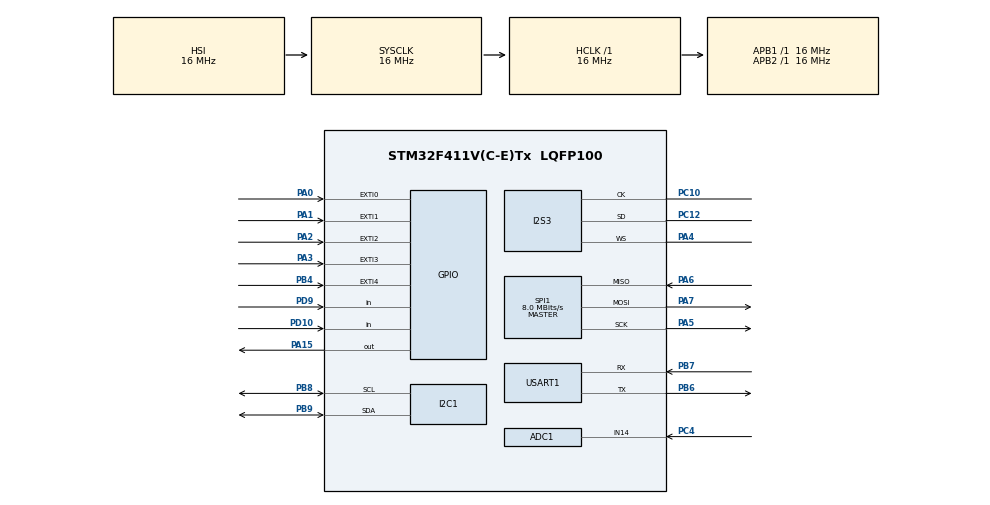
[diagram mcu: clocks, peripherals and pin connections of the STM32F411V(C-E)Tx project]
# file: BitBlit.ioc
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ADC1.Channel-0\#ChannelRegularConversion=ADC_CHANNEL_14
ADC1.ContinuousConvMode=ENABLE
ADC1.NbrOfConversionFlag=1
ADC1.Rank-0\#ChannelRegularConversion=1
ADC1.SamplingTime-0\#ChannelRegularConversion=ADC_SAMPLETIME_3CYCLES
ADC1.master=1
Dma.Request0=SPI3_TX
Dma.SPI3_TX.0.Direction=DMA_MEMORY_TO_PERIPH
Dma.SPI3_TX.0.FIFOMode=DMA_FIFOMODE_DISABLE
Dma.SPI3_TX.0.Instance=DMA1_Stream5
Dma.SPI3_TX.0.MemDataAlignment=DMA_MDATAALIGN_HALFWORD
Dma.SPI3_TX.0.MemInc=DMA_MINC_ENABLE
Dma.SPI3_TX.0.Mode=DMA_NORMAL
Dma.SPI3_TX.0.PeriphDataAlignment=DMA_PDATAALIGN_HALFWORD
Dma.SPI3_TX.0.PeriphInc=DMA_PINC_DISABLE
Dma.SPI3_TX.0.Priority=DMA_PRIORITY_LOW
I2S3.ErrorAudioFreq=0.0 %
I2S3.FullDuplexMode=I2S_FULLDUPLEXMODE_DISABLE
I2S3.Instance=SPI$Index
I2S3.RealAudioFreq=8.0 KHz
I2S3.VirtualMode=I2S_MODE_MASTER
Mcu.Family=STM32F4
Mcu.Name=STM32F411V(C-E)Tx
Mcu.Package=LQFP100
NVIC.DMA1_Stream5_IRQn=true\:0\:0\:false\:false\:true\:false\:true
NVIC.EXTI0_IRQn=true\:0\:0\:false\:false\:true\:true\:true
NVIC.EXTI1_IRQn=true\:0\:0\:false\:false\:true\:true\:true
NVIC.EXTI2_IRQn=true\:0\:0\:false\:false\:true\:true\:true
NVIC.EXTI3_IRQn=true\:0\:0\:false\:false\:true\:true\:true
NVIC.EXTI4_IRQn=true\:0\:0\:false\:false\:true\:true\:true
NVIC.PriorityGroup=NVIC_PRIORITYGROUP_4
NVIC.USART1_IRQn=true\:0\:0\:false\:false\:true\:true\:true
PA0-WKUP.Signal=GPXTI0
PA1.Signal=GPXTI1
PA15.Signal=GPIO_Output
PA2.Signal=GPXTI2
PA3.Signal=GPXTI3
PA4.Mode=Half_Duplex_Master
PA4.Signal=I2S3_WS
PA5.Mode=Full_Duplex_Master
PA5.Signal=SPI1_SCK
PA6.Mode=Full_Duplex_Master
PA6.Signal=SPI1_MISO
PA7.Mode=Full_Duplex_Master
PA7.Signal=SPI1_MOSI
PB4.Signal=GPXTI4
PB6.Mode=Asynchronous
PB6.Signal=USART1_TX
PB7.Mode=Asynchronous
PB7.Signal=USART1_RX
PB8.Mode=I2C
PB8.Signal=I2C1_SCL
PB9.Mode=I2C
PB9.Signal=I2C1_SDA
PC10.Mode=Half_Duplex_Master
PC10.Signal=I2S3_CK
PC12.Mode=Half_Duplex_Master
PC12.Signal=I2S3_SD
PC4.Signal=ADCx_IN14
PD10.Signal=GPIO_Input
PD9.Signal=GPIO_Input
ProjectManager.HeapSize=0x200
ProjectManager.StackSize=0x400
ProjectManager.TargetToolchain=STM32CubeIDE
RCC.AHBFreq_Value=16000000
RCC.APB1Freq_Value=16000000
RCC.APB2Freq_Value=16000000
RCC.CortexFreq_Value=16000000
RCC.HSE_VALUE=25000000
RCC.HSI_VALUE=16000000
RCC.LSE_VALUE=32768
RCC.SYSCLKFreq_VALUE=16000000
RCC.VCOOutputFreq_Value=192000000
SH.ADCx_IN14.0=ADC1_IN14,IN14
SPI1.CalculateBaudRate=8.0 MBits/s
SPI1.Direction=SPI_DIRECTION_2LINES
SPI1.Mode=SPI_MODE_MASTER
SPI1.VirtualType=VM_MASTER
USART1.VirtualMode=VM_ASYNC
VP_FATFS_VS_Generic.Mode=User_defined
board=custom

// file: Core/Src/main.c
/* USER CODE BEGIN Header */
/**
  ******************************************************************************
  * @file           : main.c
  * @brief          : Main program body
  ******************************************************************************
  * @attention
  *
  * <h2><center>&copy; Copyright (c) 2020 STMicroelectronics.
  * All rights reserved.</center></h2>
  *
  * This software component is licensed by ST under BSD 3-Clause license,
  * the "License"; You may not use this file except in compliance with the
  * License. You may obtain a copy of the License at:
  *                        opensource.org/licenses/BSD-3-Clause
  *
  ******************************************************************************
  */
/* USER CODE END Header */

#include "main.h"
#include "fatfs.h"

/* USER CODE BEGIN Includes */
#include "update.h"
#include "sprite.h"
#include "audio.h"
#include "DrawScore.h"
#include "fatfs.h"
#include "DrawLives.h"

/* USER CODE END Includes */

/* USER CODE BEGIN PD */
#define Screen_Start (unsigned char*)0x20020000
/* USER CODE END PD */

ADC_HandleTypeDef hadc1;

I2C_HandleTypeDef hi2c1;

I2S_HandleTypeDef hi2s3;
DMA_HandleTypeDef hdma_spi3_tx;

SPI_HandleTypeDef hspi1;

UART_HandleTypeDef huart1;

/* USER CODE BEGIN PV */
//file variables
FRESULT fres;
FATFS fs;
UINT numread;
UINT numwritten;
FIL fil;

uint16_t filecontents[3];
uint8_t ans;
uint8_t output[17] = "\nHigh Score: 000\n";

//gameflag variables
int screenrefreshcounter = 0;
int pos = 0;
int place = 0;
int gamestate = 1;
int displayscore =1;
int power_up = 0;
int randomnumber;
int powerupactivepaddle = 0;
int powerupactivelives = 0;
int live = 3;

//brick variables
int BRICK_START_Y = 30;
int topy, bottomy, leftx, rightx;
int BRICK_START_X = 6;
int BRICK_WIDTH = 20;
int BRICK_HEIGHT = 8;
int  brick_hit = 0;
int tempby;
int tempty;
int templx;
int temprx;
int greyflag =0;

//paddle variables
int paddleflag;
int PADDLE_START_X = 144;
int PADDLE_START_Y = 187;
int PADDLE_WIDTH = 32;
int PADDLE_HEIGHT = 8;
int PADDLE_SPEED = 8;
int WIDEPADDLE_WIDTH = 48;
int WIDEPADDLE_HEIGHT = 8;

//ball variables
int BALL_START_X = 157;
int BALL_START_Y = 	186;
int Ball_Height = 4;
int Ball_Width = 4;
int angle = 95;
int speed = 10;

//interrupt variables
extern  uint8_t screenFlag;
extern  uint8_t button_0;
extern  uint8_t button_1;
extern  uint8_t button_2;
extern  uint8_t button_3;
extern  uint8_t pressed;

//mouse variables
uint8_t i2cdata[10];
int16_t ax=0;

//adc variables
uint16_t tempx = 2042;
int decreasing = 0;
int increasing = 0;

//score variables
int greenpoint=0;
int yellowpoint = 0;
int orangepoint = 0;
int redpoint = 0;
int greypoint = 0;
int points = 0;
int fail = 0;

/* USER CODE END PV */

void SystemClock_Config(void);
static void MX_GPIO_Init(void);
static void MX_DMA_Init(void);
static void MX_ADC1_Init(void);
static void MX_I2C1_Init(void);
static void MX_I2S3_Init(void);
static void MX_SPI1_Init(void);
static void MX_USART1_UART_Init(void);
/* USER CODE BEGIN PFP */

//function declarations
volatile void ClearSprite(unsigned char* ptr_screen, unsigned char* ptr_sprite, int x, int y, int SPRITE_WIDTH, int SPRITE_HEIGHT );
volatile void DrawSprite(unsigned char* ptr_screen, unsigned char* ptr_sprite, int x, int y, int SPRITE_WIDTH, int SPRITE_HEIGHT);
int abs(int x);

//ball struct
struct ball_state{
	   uint16_t x;
	   uint16_t y;
	   uint8_t width;
	   uint8_t height;
	   int16_t mov_direction;
	   uint16_t speed;
	   int speeddirectiony;
	   int speeddirectionx;
};

//paddle struct
 struct Paddle_state{
	    int x;
		int y;
		int PADDLE_WIDTH;
		int PADDLE_HEIGHT;
		int lives;
		int right;
		int left;
};

//powerups struct
struct power_ups
{
	int increasepaddle;
	int lifeup;

};

// brick struct
typedef struct {

	 uint16_t rightx;
     uint16_t leftx;
     uint16_t bottomy;
         uint16_t topy;
         uint16_t hitbox;

}Bricks;

///// FUNCTIONS

void Collisiondetection(struct ball_state* ball_state,struct Paddle_state* paddle_state, Bricks* bricks)
{

	int tempX = ball_state->x + deltaX(ball_state->speed, ball_state->mov_direction);
	int	tempY = ball_state->y + deltaY(ball_state->speed, ball_state->mov_direction);

	int balltop = tempY;
	int ballbottom =  tempY + ball_state->height;
	int ballleft = tempX;
	int ballright = tempX + ball_state->width;

		if(ballleft<0)//left side of screen
		{

			ball_state->mov_direction = 180 - ball_state->mov_direction; //bounce right
			ball_state->x = -tempX;
			ball_state->speeddirectionx = speed;
		}
		else if(ballright > 320)//right side of screen
		{

			ball_state->mov_direction = 180 - ball_state->mov_direction; //bounce left
			ball_state->x = tempX - 2*((tempX+ball_state->width)-320);
			ball_state->speeddirectionx = -1*speed;
		}
		else
		{
			ball_state->x = tempX;
		}

			if(balltop<0)//top of screen
			{

				ball_state->mov_direction = 360 - ball_state->mov_direction; //bounce down
				ball_state->y = -tempY;
				ball_state->speeddirectiony = speed;
			}

			//bounce of of paddle

			else if(((ballbottom) >= paddle_state->y) && (ballleft <= paddle_state->x+(paddle_state->PADDLE_WIDTH)) && (ballright >= paddle_state->x))
				{
					if((paddle_state->right) && (ball_state->mov_direction < 90)&& (ball_state->mov_direction >= 0)) // ball moving right and paddle moving right
					{
						ball_state->speeddirectiony = -1*speed;
									   ball_state->mov_direction = 375 - ball_state->mov_direction; //update
									   ball_state->y = tempY - 2*((tempY+ball_state->height)-paddle_state->y);
									   paddle_state->right = 0;
					}
					else if((paddle_state->left)&& (ball_state->mov_direction <= 180)&& (ball_state->mov_direction > 90)) // ball moving left and paddle moving left
					{
						ball_state->speeddirectiony = -1*speed;
									   ball_state->mov_direction = 345 - ball_state->mov_direction; //update
									   ball_state->y = tempY - 2*((tempY+ball_state->height)-paddle_state->y);
									   paddle_state->left = 0;

					}
					else if((paddle_state->right) && (ball_state->mov_direction <= 180)&& (ball_state->mov_direction > 90)) // ball moving left and paddle moving right
								  {
									ball_state->speeddirectiony = -1*speed;
												   ball_state->mov_direction = 375 - ball_state->mov_direction; //update
												   ball_state->y = tempY - 2*((tempY+ball_state->height)-paddle_state->y);
												   paddle_state->right = 0;
								  }
								  else if((paddle_state->left)&& (ball_state->mov_direction < 90)&& (ball_state->mov_direction >= 0)) // ball moving right and paddle moving left
								{
									ball_state->speeddirectiony = -1*speed;
												   ball_state->mov_direction = 345 - ball_state->mov_direction; //update
												   ball_state->y = tempY - 2*((tempY+ball_state->height)-paddle_state->y);
												   paddle_state->left = 0;

								}
								  else if((paddle_state->left)&& (ball_state->mov_direction == 90)) // ball moving straight  and paddle moving left
																{
																	ball_state->speeddirectiony = -1*speed;
																				   ball_state->mov_direction = 345 - ball_state->mov_direction; //update
																				   ball_state->y = tempY - 2*((tempY+ball_state->height)-paddle_state->y);
																				   paddle_state->left = 0;

																}
								  else if((paddle_state->right)&& (ball_state->mov_direction == 90)) // ball moving straight  and paddle moving right
																								{
																									ball_state->speeddirectiony = -1*speed;
																												   ball_state->mov_direction = 375 - ball_state->mov_direction; //update
																												   ball_state->y = tempY - 2*((tempY+ball_state->height)-paddle_state->y);
																												   paddle_state->left = 0;

																								}

				else
				{
				   ball_state->speeddirectiony = -1*speed;
				   ball_state->mov_direction = 360 - ball_state->mov_direction; //update
				   ball_state->y = tempY - 2*((tempY+ball_state->height)-paddle_state->y);
				   paddle_state->left = 0;
				   paddle_state->right = 0;
				}

				}

			else if(ballbottom >= 200)
			{

				fail = 1;

				 paddle_state->lives--;
									    live--;
						                button_0 = 0;
										pressed = 0;
						                ball_state->speed = 0;
						                ball_state->y = BALL_START_Y;
						                ball_state->mov_direction = angle;

			}
			else
  		{
  			ball_state->y = tempY;
  		}

			// check collision for all bricks
			for(pos = 0; pos<65; pos++)
				{

					if ((balltop <= bricks[pos].bottomy) && ((ballbottom) >= bricks[pos].topy) && ((ballright)>= bricks[pos].leftx) &&(ballleft<= bricks[pos].rightx) ) //check for collision
					{
                        place = pos;

                        power_up =1;

                   	 if(ball_state ->mov_direction > 360)
                   	 {
                   		 ball_state ->mov_direction -= 360;
                   	 }
                   	 else if(ball_state ->mov_direction < -360)
                   	 {
                   		 ball_state ->mov_direction += 360;
                   	 }

						//set score flags

						if(pos >= 52 && pos <= 64) //green brick is hit
						{
							 brick_hit = 1;
												greenpoint = 1;

											}

						else if(pos >= 39 && pos <= 51) //yellow brick is hit
																	{
							 brick_hit = 1;
																		yellowpoint = 1;

																	}
											else if(pos >= 26 && pos <= 38) //orange brick is hit
																	{
												 brick_hit = 1;
																		orangepoint = 1;

																	}
											else if(pos >= 13 && pos <= 25) //red brick is hit
																	{
												 brick_hit = 1;
												                  	redpoint = 1;

																	}
											else if(pos >=0 && pos <=12)
											{

												if(bricks[pos].hitbox != 1)
												{
												greyflag = 1;
												}
						                                    ClearSprite(Screen_Start, sprite, bricks[pos].leftx, bricks[pos].topy, BRICK_WIDTH, BRICK_HEIGHT);

															DrawSprite(Screen_Start, crackedGreyBrick, bricks[pos].leftx, bricks[pos].topy, BRICK_WIDTH, BRICK_HEIGHT);

															if(bricks[pos].hitbox ==1)
															{

																 brick_hit = 1;

															greypoint = 1;

															}

														}

						ball_state->mov_direction = 360 - ball_state->mov_direction; //bounce down
						ball_state->y = (tempY - 2*((tempY)-bricks[pos].bottomy));

					tempby = bricks[pos].bottomy;
					tempty = bricks[pos].topy;
					templx = bricks[pos].leftx;
					temprx = bricks[pos].rightx;

					}

				}

if(pressed == 0)
{
		ball_state->x = paddle_state->x + (PADDLE_WIDTH/2);

}

}

void PowerUpCheck(struct power_ups* power)
{

	if(power_up)
	{

  randomnumber = ((rand() %200)+1); // create random number for powerup from

    if(randomnumber > 60 && randomnumber < 90 ) //lives up power up
    {
    	HAL_I2S_Transmit_DMA(&hi2s3, (uint16_t*) poweruplives, AUDIOLENpoweruplives);
   	 power->lifeup = 1;

    }

    else if(randomnumber > 150 && randomnumber < 180 && !powerupactivepaddle) // paddlesize up power up
    {
    	powerupactivepaddle = 1;
    	HAL_I2S_Transmit_DMA(&hi2s3, (uint16_t*) poweruppaddle, AUDIOLENpoweruppaddle);
   	 power->increasepaddle = 1;

    }

    else
    {
    	HAL_I2S_Transmit_DMA(&hi2s3, (uint16_t*) audiohit, AUDIOLENhit);
    }
    power_up= 0;

}
}

void PowerUp(struct Paddle_state* paddle,struct power_ups* power)
{

	if(power->increasepaddle)
	{

		paddle->PADDLE_WIDTH = WIDEPADDLE_WIDTH;
		paddleflag=1;
		power->increasepaddle = 0;
	}
	else if(power->lifeup)
	{
		live++;
		paddle->lives++;
		power->lifeup = 0;

	}

}

void UpdatePaddle(struct Paddle_state* Paddle_state)
{

	if(button_1)
	{

		uint32_t JoyStick = GPIOD -> IDR;
	JoyStick = JoyStick & 0x600;

	  if(JoyStick == 0x200)
			  {
				  if(Paddle_state ->x == 320 - Paddle_state->PADDLE_WIDTH)
				  {
					  Paddle_state ->x = 320 -  Paddle_state->PADDLE_WIDTH;
				  }
				  else
				  {
					  Paddle_state->right = 1;
					  Paddle_state ->x += PADDLE_SPEED;

					  screenFlag = 0;
				  }

			  }else if(JoyStick == 0x400)

			  {
				  if(Paddle_state ->x == 0)
				  {
					  Paddle_state ->x = 0;
				  }
				  else
				  {
					  Paddle_state->left=1;
					  Paddle_state ->x -= PADDLE_SPEED;

					  screenFlag = 0;
				  }

			  }
			  else
			  {

				  Paddle_state->left = 0;
				  Paddle_state->right = 0;

			  }

	}

	if(button_2)
	{
		i2cdata[0] = 0xA8;

		HAL_I2C_Master_Transmit(&hi2c1, 0x32, i2cdata,1, 10);
		 HAL_I2C_Master_Receive(&hi2c1, 0x32, i2cdata, 6, 10);

		 uint16_t tmp = i2cdata[0] + (i2cdata[1] << 8);
		 ax = *((int16_t*)&tmp);

		 if(ax > 0)
					  {

						  if(Paddle_state ->x == 320 -  Paddle_state->PADDLE_WIDTH)
						  {
							  Paddle_state ->x = 320 -  Paddle_state->PADDLE_WIDTH;
						  }
						  else
						  {
							  Paddle_state->right = 1;
							  Paddle_state ->x += PADDLE_SPEED;

							  screenFlag = 0;
						  }

					  }else if(ax < 0 )

					  {

						  if(Paddle_state ->x == 0)
						  {
							  Paddle_state ->x = 0;
						  }
						  else
						  {
							  Paddle_state->left = 1;
							  Paddle_state ->x -= PADDLE_SPEED;

							  screenFlag = 0;
						  }

					  }
					  else
					  {
						  Paddle_state->left = 0;
						  Paddle_state->right = 0;
					  }

	}
	if(button_3)
	{

		 uint16_t x = HAL_ADC_GetValue(&hadc1);
		 if ((x < tempx) || (x == 0))
		 {
			 decreasing = 1;

		 }
		 else if ((x > tempx)||(x >= 4084))
		 {

			 increasing = 1;

		 }
		 tempx = x;

		 if (decreasing)
		 {

			  if(Paddle_state ->x <= 0)
			  {
				  Paddle_state ->x = 0;
			  }
			  else
			  {
				  Paddle_state->left = 1;
				  Paddle_state ->x -= PADDLE_SPEED;

				  screenFlag = 0;
			  }

decreasing = 0;

		 }

		 else if(increasing)
		 {

			  if(Paddle_state ->x == 320 -  Paddle_state->PADDLE_WIDTH)
							  {
				  Paddle_state ->x = 320 -  Paddle_state->PADDLE_WIDTH;
							  }
							  else
							  {
								  Paddle_state->right = 1;
								  Paddle_state ->x += PADDLE_SPEED;

								  screenFlag = 0;
							  }

increasing = 0;

		 }
		 else
					  {

						  Paddle_state->left = 0;
						  Paddle_state->right = 0;

					  }
	}
}

void updateScore()
{

	if(greenpoint)
	{

		points++; // +1 for green brick
		greenpoint = 0;
	}
	else if(yellowpoint)
		{
         points += 3;// +3 for yellow brick
         yellowpoint = 0;
		}
	else if(orangepoint)
		{
        points += 5;// +5 for orange brick
        orangepoint = 0;
		}
	else if(redpoint)
		{
        points += 7;// +7 for red brick
        redpoint = 0;
		}
	else if(greypoint)
		{
        points += 10;// +10 for grey brick
        greypoint = 0;
		}

}

void GameOver(struct Paddle_state* paddle_state)
{

				int middlex = 130;
				int middley = 100;

				    DrawSprite(Screen_Start,char_G,middlex, middley,SCORE_WIDTH,SCORE_HEIGHT);
					DrawSprite(Screen_Start,char_A,middlex+9, middley,SCORE_WIDTH,SCORE_HEIGHT);
					DrawSprite(Screen_Start,char_M,middlex+18, middley,SCORE_WIDTH,SCORE_HEIGHT);
					DrawSprite(Screen_Start,char_E,middlex+27, middley,SCORE_WIDTH,SCORE_HEIGHT);
					DrawSprite(Screen_Start,char_O,middlex+45, middley,SCORE_WIDTH,SCORE_HEIGHT);
					DrawSprite(Screen_Start,char_V,middlex+54, middley,SCORE_WIDTH,SCORE_HEIGHT);
					DrawSprite(Screen_Start,char_E,middlex+63, middley,SCORE_WIDTH,SCORE_HEIGHT);
					DrawSprite(Screen_Start,char_R,middlex+72, middley,SCORE_WIDTH,SCORE_HEIGHT);

}

void Fail(struct Paddle_state* paddle_state)
{

	if(fail)
	{

		ClearSprite(Screen_Start, widePaddle, paddle_state->x, paddle_state->y, paddle_state->PADDLE_WIDTH, paddle_state->PADDLE_HEIGHT);

		paddleflag = 0;
		powerupactivepaddle = 0;
		paddle_state->PADDLE_WIDTH = PADDLE_WIDTH;

		if(paddle_state->lives == 0)
					{
				gamestate = 0;
					}

		HAL_I2S_Transmit_DMA(&hi2s3, (uint16_t*) audiofail2, AUDIOLENfail2);
		fail = 0;

	}
}

void IncScrCnt()
{
if(brick_hit)
{
	screenrefreshcounter++;
}

}

void BrickAnimation(Bricks* bricks)
{

	if(brick_hit)
	{
	if(place >= 52 && place <= 64) //green brick is hit
						{
		                                 bricks[place].bottomy = -69;
										bricks[place].topy = -69;
										bricks[place].leftx =-69;
										bricks[place].rightx = -69;
		                                                            if (screenrefreshcounter==0){
		                                                                   ClearSprite(Screen_Start, sprite, templx, tempty, BRICK_WIDTH, BRICK_HEIGHT);

																			DrawSprite(Screen_Start,  Brickanimation1G, templx, tempty, BRICK_WIDTH, BRICK_HEIGHT);
		                                                                 }
																			if (screenrefreshcounter==2) {
																				ClearSprite(Screen_Start, sprite, templx, tempty, BRICK_WIDTH, BRICK_HEIGHT);

																				DrawSprite(Screen_Start,  Brickanimation2G, templx, tempty, BRICK_WIDTH, BRICK_HEIGHT);
																			}

																			else if (screenrefreshcounter==4) {
																				ClearSprite(Screen_Start, sprite, templx, tempty, BRICK_WIDTH, BRICK_HEIGHT);

																				DrawSprite(Screen_Start,  Brickanimation3G,templx, tempty, BRICK_WIDTH, BRICK_HEIGHT);
																			}

																			else if (screenrefreshcounter==6) {
																				ClearSprite(Screen_Start, sprite, templx, tempty, BRICK_WIDTH, BRICK_HEIGHT);
																				screenrefreshcounter = 0;
																				brick_hit =0;
																			}

						}

	else if(place >= 39 && place <= 51) //yellow brick is hit
												{
		                                bricks[place].bottomy = -69;
										bricks[place].topy = -69;
										bricks[place].leftx =-69;
										bricks[place].rightx = -69;
        if (screenrefreshcounter==0){
                             ClearSprite(Screen_Start, sprite, templx, tempty, BRICK_WIDTH, BRICK_HEIGHT);

								DrawSprite(Screen_Start,  Brickanimation1Y, templx, tempty, BRICK_WIDTH, BRICK_HEIGHT);
}
								if (screenrefreshcounter==2) {
									ClearSprite(Screen_Start, sprite, templx, tempty, BRICK_WIDTH, BRICK_HEIGHT);

									DrawSprite(Screen_Start,  Brickanimation2Y, templx, tempty, BRICK_WIDTH, BRICK_HEIGHT);
								}

								else if (screenrefreshcounter==4) {
									ClearSprite(Screen_Start, sprite, templx, tempty, BRICK_WIDTH, BRICK_HEIGHT);

									DrawSprite(Screen_Start,  Brickanimation3Y,templx, tempty, BRICK_WIDTH, BRICK_HEIGHT);
								}

								else if (screenrefreshcounter==6) {
									ClearSprite(Screen_Start, sprite, templx, tempty, BRICK_WIDTH, BRICK_HEIGHT);
									screenrefreshcounter = 0;
									brick_hit =0;
								}
												}
	else if(place >= 26 && place <= 38) //orange brick is hit
												{
		                                bricks[place].bottomy = -69;
										bricks[place].topy = -69;
										bricks[place].leftx =-69;
										bricks[place].rightx = -69;
        if (screenrefreshcounter==0){
                             ClearSprite(Screen_Start, sprite, templx, tempty, BRICK_WIDTH, BRICK_HEIGHT);

								DrawSprite(Screen_Start,  Brickanimation1O, templx, tempty, BRICK_WIDTH, BRICK_HEIGHT);
}
								if (screenrefreshcounter==2) {
									ClearSprite(Screen_Start, sprite, templx, tempty, BRICK_WIDTH, BRICK_HEIGHT);

									DrawSprite(Screen_Start,  Brickanimation2O, templx, tempty, BRICK_WIDTH, BRICK_HEIGHT);
								}

								else if (screenrefreshcounter==4) {
									ClearSprite(Screen_Start, sprite, templx, tempty, BRICK_WIDTH, BRICK_HEIGHT);

									DrawSprite(Screen_Start,  Brickanimation3O,templx, tempty, BRICK_WIDTH, BRICK_HEIGHT);
								}

								else if (screenrefreshcounter==6) {
									ClearSprite(Screen_Start, sprite, templx, tempty, BRICK_WIDTH, BRICK_HEIGHT);
									screenrefreshcounter = 0;
									brick_hit =0;
								}
												}
	else if(place >= 13 && place <= 25) //red brick is hit
												{
		                               bricks[place].bottomy = -69;
										bricks[place].topy = -69;
										bricks[place].leftx =-69;
										bricks[place].rightx = -69;
        if (screenrefreshcounter==0){
                             ClearSprite(Screen_Start, sprite, templx, tempty, BRICK_WIDTH, BRICK_HEIGHT);

								DrawSprite(Screen_Start,  Brickanimation1R, templx, tempty, BRICK_WIDTH, BRICK_HEIGHT);
}
								if (screenrefreshcounter==2) {
									ClearSprite(Screen_Start, sprite, templx, tempty, BRICK_WIDTH, BRICK_HEIGHT);

									DrawSprite(Screen_Start,  Brickanimation2R, templx, tempty, BRICK_WIDTH, BRICK_HEIGHT);
								}

								else if (screenrefreshcounter==4) {
									ClearSprite(Screen_Start, sprite, templx, tempty, BRICK_WIDTH, BRICK_HEIGHT);

									DrawSprite(Screen_Start,  Brickanimation3R,templx, tempty, BRICK_WIDTH, BRICK_HEIGHT);
								}

								else if (screenrefreshcounter==6) {
									ClearSprite(Screen_Start, sprite, templx, tempty, BRICK_WIDTH, BRICK_HEIGHT);
									screenrefreshcounter = 0;
									brick_hit =0;

								}
												}

	else if(place >= 0 && place <= 12) // grey brick is hit
	{
		if((bricks[place].hitbox==1) && (brick_hit == 1) )
		{
			                                bricks[place].bottomy = -69;
											bricks[place].topy = -69;
											bricks[place].leftx =-69;
											bricks[place].rightx = -69;
        if (screenrefreshcounter==0){
                             ClearSprite(Screen_Start, sprite, templx, tempty, BRICK_WIDTH, BRICK_HEIGHT);

								DrawSprite(Screen_Start,  Brickanimation1GR, templx, tempty, BRICK_WIDTH, BRICK_HEIGHT);
}
								if (screenrefreshcounter==2) {
									ClearSprite(Screen_Start, sprite, templx, tempty, BRICK_WIDTH, BRICK_HEIGHT);

									DrawSprite(Screen_Start,  Brickanimation2GR, templx, tempty, BRICK_WIDTH, BRICK_HEIGHT);
								}

								else if (screenrefreshcounter==4) {
									ClearSprite(Screen_Start, sprite, templx, tempty, BRICK_WIDTH, BRICK_HEIGHT);

									DrawSprite(Screen_Start,  Brickanimation3GR,templx, tempty, BRICK_WIDTH, BRICK_HEIGHT);
								}

								else if (screenrefreshcounter==6) {
									ClearSprite(Screen_Start, sprite, templx, tempty, BRICK_WIDTH, BRICK_HEIGHT);
									screenrefreshcounter = 0;
									brick_hit =0;

								}

}

	}

}
	if(greyflag)
	{
	bricks[place].hitbox++;
	greyflag = 0;
	}
}

/* USER CODE END PFP */

int main(void)
{
  /* USER CODE BEGIN 1 */

	uint8_t Paddle[256] = {0x00, 0x00, 0x00, 0x06, 0x06, 0x06, 0x06, 0x10, 0x16, 0x16, 0x16, 0x16, 0x16, 0x16, 0x16, 0x16, 0x16, 0x16, 0x16, 0x16, 0x16, 0x16, 0x16, 0x16, 0x10, 0x06, 0x06, 0x06, 0x06, 0x00, 0x00, 0x00,
	                       0x00, 0x00, 0x0C, 0x0C, 0x0C, 0x0C, 0x0C, 0x10, 0x18, 0x18, 0x18, 0x18, 0x18, 0x18, 0x18, 0x18, 0x18, 0x18, 0x18, 0x18, 0x18, 0x18, 0x18, 0x18, 0x10, 0x0C, 0x0C, 0x0C, 0x0C, 0x06, 0x00, 0x00,
	                       0x00, 0x0B, 0x0C, 0x0F, 0x0F, 0x0F, 0x0F, 0x10, 0x0F, 0x0F, 0x0F, 0x0F, 0x0F, 0x0F, 0x0F, 0x0F, 0x0F, 0x0F, 0x0F, 0x0F, 0x0F, 0x0F, 0x0F, 0x0F, 0x10, 0x0F, 0x0F, 0x0F, 0x0F, 0x06, 0x0B, 0x00,
	                       0x0B, 0x0F, 0x0F, 0x0C, 0x0C, 0x0C, 0x0C, 0x10, 0x18, 0x18, 0x18, 0x18, 0x18, 0x18, 0x18, 0x18, 0x18, 0x18, 0x18, 0x18, 0x18, 0x18, 0x18, 0x18, 0x10, 0x0C, 0x0C, 0x0C, 0x0C, 0x06, 0x0F, 0x0B,
	                       0x0B, 0x0B, 0x0C, 0x0C, 0x0C, 0x0C, 0x0C, 0x10, 0x18, 0x18, 0x18, 0x18, 0x18, 0x18, 0x18, 0x18, 0x18, 0x18, 0x18, 0x18, 0x18, 0x18, 0x18, 0x18, 0x10, 0x0C, 0x0C, 0x0C, 0x0C, 0x06, 0x0B, 0x0B,
	                       0x00, 0x0B, 0x0C, 0x0C, 0x0C, 0x0C, 0x0C, 0x10, 0x16, 0x16, 0x16, 0x16, 0x16, 0x16, 0x16, 0x16, 0x16, 0x16, 0x16, 0x16, 0x16, 0x16, 0x16, 0x16, 0x10, 0x0C, 0x0C, 0x0C, 0x0C, 0x06, 0x0B, 0x00,
	                       0x00, 0x00, 0x0C, 0x06, 0x06, 0x06, 0x06, 0x10, 0x16, 0x16, 0x16, 0x16, 0x16, 0x16, 0x16, 0x16, 0x16, 0x16, 0x16, 0x16, 0x16, 0x16, 0x16, 0x16, 0x10, 0x06, 0x06, 0x06, 0x06, 0x06, 0x00, 0x00,
	                       0x00, 0x00, 0x00, 0x06, 0x06, 0x06, 0x06, 0x10, 0x10, 0x10, 0x10, 0x10, 0x10, 0x10, 0x10, 0x10, 0x10, 0x10, 0x10, 0x10, 0x10, 0x10, 0x10, 0x10, 0x10, 0x06, 0x06, 0x06, 0x06, 0x00, 0x00, 0x00,};

	uint8_t Ball[16] = {0x00, 0x0F, 0x0F, 0x00,
	 0x0F, 0x0B, 0x0B, 0x0F,
	 0x0F, 0x0B, 0x0B, 0x0F,
	 0x00, 0x0F, 0x0F, 0x00};

  /* USER CODE END 1 */

  /* MCU Configuration--------------------------------------------------------*/

  /* Reset of all peripherals, Initializes the Flash interface and the Systick. */
  HAL_Init();

  /* Configure the system clock */
  SystemClock_Config();

  /* Initialize all configured peripherals */
  MX_GPIO_Init();
  MX_DMA_Init();
  MX_ADC1_Init();
  MX_I2C1_Init();
  MX_I2S3_Init();
  MX_SPI1_Init();
  MX_USART1_UART_Init();
  MX_FATFS_Init();
  /* USER CODE BEGIN 2 */

  DrawSprite(Screen_Start, titlescreen, 0, 0, 320, 200);
  HAL_Delay(50);
  ClearSprite(Screen_Start, titlescreen, 0, 0, 320, 200);

  // start adc continious conversion mode
  HAL_ADC_Start(&hadc1);

  //draw bricks
  for(int i = 0; i < 5; i++)
  {
	  BRICK_START_X = 6;
  	for(int j = 0; j <13; j++ )
  		{
  			for(int k = 0; k< sizeof(sprite); k++)
  			{
  				sprite[k] = color[i];
  			}
  			ClearSprite(Screen_Start, sprite, BRICK_START_X, BRICK_START_Y, BRICK_WIDTH, BRICK_HEIGHT);
  			DrawSprite(Screen_Start, sprite, BRICK_START_X, BRICK_START_Y, BRICK_WIDTH, BRICK_HEIGHT);
  			BRICK_START_X += 24;
  		}
  	BRICK_START_Y += 12;
  }

  BRICK_START_Y = 30;
  BRICK_START_X = 6;

// initialize bricks variables
  Bricks bricks[65];

topy = BRICK_START_Y;
bottomy = BRICK_START_Y + BRICK_HEIGHT;
rightx = BRICK_START_X + BRICK_WIDTH;
leftx = BRICK_START_X;
int position = 0;

for( int i = 0; i< 5; i++)
{
 rightx = BRICK_START_X + BRICK_WIDTH;
 leftx = BRICK_START_X;

	for(int j = 0;j<13;j++)
	{
	bricks[position].topy = topy;
	bricks[position].bottomy = bottomy;
	bricks[position].rightx = rightx;
	bricks[position].leftx = leftx;

	rightx += 24;
	leftx += 24;
	position++;

	}

	topy += 12;
	bottomy += 12;
}

//initiliaze balll and paddle variables
  struct ball_state current_ball_state = {BALL_START_X, BALL_START_Y, Ball_Width, Ball_Height, angle,0,0,0};
  struct Paddle_state current_paddle_state = {PADDLE_START_X, PADDLE_START_Y, PADDLE_WIDTH, PADDLE_HEIGHT,3,0,0};
  struct power_ups power_up = { 0,0};

  // draw paddle in starting position
  DrawSprite(Screen_Start, Paddle, current_paddle_state.x, current_paddle_state.y, current_paddle_state.PADDLE_WIDTH, current_paddle_state.PADDLE_HEIGHT);

  // set data registers for mouse input detection for x velocity
  i2cdata[0] = 0x20;
  i2cdata[1] = 0x47;
  HAL_I2C_Master_Transmit(&hi2c1, 0x32, i2cdata, 2, 10);

  i2cdata[0] = 0x23;
    i2cdata[1] = 0x00;
    HAL_I2C_Master_Transmit(&hi2c1, 0x32, i2cdata, 2, 10);

	DrawSprite(Screen_Start,char_S,SCORE_START_X, SCORE_START_y,SCORE_WIDTH,SCORE_HEIGHT);
	DrawSprite(Screen_Start,char_C,SCORE_START_X+9, SCORE_START_y,SCORE_WIDTH,SCORE_HEIGHT);
	DrawSprite(Screen_Start,char_O,SCORE_START_X+18, SCORE_START_y,SCORE_WIDTH,SCORE_HEIGHT);
	DrawSprite(Screen_Start,char_R,SCORE_START_X+27, SCORE_START_y,SCORE_WIDTH,SCORE_HEIGHT);
	DrawSprite(Screen_Start,char_E,SCORE_START_X+36, SCORE_START_y,SCORE_WIDTH,SCORE_HEIGHT);
	DrawSprite(Screen_Start,char_Colon,SCORE_START_X+45, SCORE_START_y,SCORE_WIDTH,SCORE_HEIGHT);
	DrawSprite(Screen_Start,char_0,SCORE_START_X+54, SCORE_START_y,SCORE_WIDTH,SCORE_HEIGHT);
	DrawSprite(Screen_Start,char_0,SCORE_START_X+63, SCORE_START_y,SCORE_WIDTH,SCORE_HEIGHT);
	DrawSprite(Screen_Start,char_0,SCORE_START_X+72, SCORE_START_y,SCORE_WIDTH,SCORE_HEIGHT);

	DrawSprite(Screen_Start,char_L,LIVES_START_X, SCORE_START_y,SCORE_WIDTH,SCORE_HEIGHT);
	DrawSprite(Screen_Start,char_I,LIVES_START_X+9, SCORE_START_y,SCORE_WIDTH,SCORE_HEIGHT);
	DrawSprite(Screen_Start,char_V,LIVES_START_X+18, SCORE_START_y,SCORE_WIDTH,SCORE_HEIGHT);
	DrawSprite(Screen_Start,char_E,LIVES_START_X+27, SCORE_START_y,SCORE_WIDTH,SCORE_HEIGHT);
	DrawSprite(Screen_Start,char_S,LIVES_START_X+36, SCORE_START_y,SCORE_WIDTH,SCORE_HEIGHT);
	DrawSprite(Screen_Start,char_Colon,LIVES_START_X+45, SCORE_START_y,SCORE_WIDTH,SCORE_HEIGHT);
	DrawSprite(Screen_Start,char_0,LIVES_START_X+54, SCORE_START_y,SCORE_WIDTH,SCORE_HEIGHT);
	DrawSprite(Screen_Start,char_0,LIVES_START_X+63, SCORE_START_y,SCORE_WIDTH,SCORE_HEIGHT);
	DrawSprite(Screen_Start,char_0,LIVES_START_X+72, SCORE_START_y,SCORE_WIDTH,SCORE_HEIGHT);

  /* USER CODE END 2 */

  /* Infinite loop */
  /* USER CODE BEGIN WHILE */

  while (1)
  {

	  if (screenFlag)
	  {

 //clear paddle
		  if(gamestate)
		  {
			if (!paddleflag) {
				ClearSprite(Screen_Start, Paddle, current_paddle_state.x, current_paddle_state.y, current_paddle_state.PADDLE_WIDTH, current_paddle_state.PADDLE_HEIGHT);
				//update paddle according to input
				UpdatePaddle(&current_paddle_state);
				// draw new paddle
				DrawSprite(Screen_Start, Paddle, current_paddle_state.x, current_paddle_state.y, current_paddle_state.PADDLE_WIDTH, current_paddle_state.PADDLE_HEIGHT);
			}

			if (paddleflag) {
							ClearSprite(Screen_Start, widePaddle, current_paddle_state.x, current_paddle_state.y, current_paddle_state.PADDLE_WIDTH, current_paddle_state.PADDLE_HEIGHT);
							//update paddle according to input
							UpdatePaddle(&current_paddle_state);
							// draw new paddle
							DrawSprite(Screen_Start, widePaddle, current_paddle_state.x, current_paddle_state.y, current_paddle_state.PADDLE_WIDTH, current_paddle_state.PADDLE_HEIGHT);
						}

			      //clear ball

		       ClearSprite(Screen_Start,Ball,current_ball_state.x, current_ball_state.y, current_ball_state.width, current_ball_state.height);

		       //detect collisions between ball and objects

		// launch ball
		       if(button_0)
		       {

                   HAL_I2S_Transmit_DMA(&hi2s3,(uint16_t*) audiolaunch, AUDIOLENlaunch);
		    	   current_ball_state.speed = 10;
		    	   current_ball_state.speeddirectiony = -1*speed;
		    	   current_ball_state.speeddirectionx = -1*speed;

		    	   button_0 = 0;
		       }

			      Collisiondetection(&current_ball_state, &current_paddle_state, bricks);

			      PowerUpCheck(&power_up);
			      PowerUp(&current_paddle_state, &power_up);

			      BrickAnimation(bricks);

			      Fail(&current_paddle_state);

			  updateScore();

			  DrawLives(lives,live);
			  DrawScore(score,points);

// draw new ball after collision

			      DrawSprite(Screen_Start, Ball,current_ball_state.x, current_ball_state.y, current_ball_state.width, current_ball_state.height);

			      IncScrCnt();

		 	   screenFlag = 0;

		  }

		  if(gamestate == 0)
				 			  {
			  //HighScore();

			  GameOver(&current_paddle_state);

				 			  }
	  }

    /* USER CODE END WHILE */

  }
}

void SystemClock_Config(void)
{
  RCC_OscInitTypeDef RCC_OscInitStruct = {0};
  RCC_ClkInitTypeDef RCC_ClkInitStruct = {0};
  RCC_PeriphCLKInitTypeDef PeriphClkInitStruct = {0};

  /** Macro to configure the PLL multiplication factor
  */
  __HAL_RCC_PLL_PLLM_CONFIG(16);
  /** Macro to configure the PLL clock source
  */
  __HAL_RCC_PLL_PLLSOURCE_CONFIG(RCC_PLLSOURCE_HSI);
  /** Configure the main internal regulator output voltage
  */
  __HAL_RCC_PWR_CLK_ENABLE();
  __HAL_PWR_VOLTAGESCALING_CONFIG(PWR_REGULATOR_VOLTAGE_SCALE1);
  /** Initializes the CPU, AHB and APB busses clocks
  */
  RCC_OscInitStruct.OscillatorType = RCC_OSCILLATORTYPE_HSI;
  RCC_OscInitStruct.HSIState = RCC_HSI_ON;
  RCC_OscInitStruct.HSICalibrationValue = RCC_HSICALIBRATION_DEFAULT;
  RCC_OscInitStruct.PLL.PLLState = RCC_PLL_NONE;
  RCC_OscInitStruct.PLL.PLLSource = RCC_PLLSOURCE_HSI;
  if (HAL_RCC_OscConfig(&RCC_OscInitStruct) != HAL_OK)
  {
    Error_Handler();
  }
  /** Initializes the CPU, AHB and APB busses clocks
  */
  RCC_ClkInitStruct.ClockType = RCC_CLOCKTYPE_HCLK|RCC_CLOCKTYPE_SYSCLK
                              |RCC_CLOCKTYPE_PCLK1|RCC_CLOCKTYPE_PCLK2;
  RCC_ClkInitStruct.SYSCLKSource = RCC_SYSCLKSOURCE_HSI;
  RCC_ClkInitStruct.AHBCLKDivider = RCC_SYSCLK_DIV1;
  RCC_ClkInitStruct.APB1CLKDivider = RCC_HCLK_DIV1;
  RCC_ClkInitStruct.APB2CLKDivider = RCC_HCLK_DIV1;

  if (HAL_RCC_ClockConfig(&RCC_ClkInitStruct, FLASH_LATENCY_0) != HAL_OK)
  {
    Error_Handler();
  }
  PeriphClkInitStruct.PeriphClockSelection = RCC_PERIPHCLK_I2S;
  PeriphClkInitStruct.PLLI2S.PLLI2SN = 192;
  PeriphClkInitStruct.PLLI2S.PLLI2SM = 16;
  PeriphClkInitStruct.PLLI2S.PLLI2SR = 2;
  if (HAL_RCCEx_PeriphCLKConfig(&PeriphClkInitStruct) != HAL_OK)
  {
    Error_Handler();
  }
}

static void MX_ADC1_Init(void)
{

  ADC_ChannelConfTypeDef sConfig = {0};

  /** Configure the global features of the ADC (Clock, Resolution, Data Alignment and number of conversion)
  */
  hadc1.Instance = ADC1;
  hadc1.Init.ClockPrescaler = ADC_CLOCK_SYNC_PCLK_DIV2;
  hadc1.Init.Resolution = ADC_RESOLUTION_12B;
  hadc1.Init.ScanConvMode = DISABLE;
  hadc1.Init.ContinuousConvMode = ENABLE;
  hadc1.Init.DiscontinuousConvMode = DISABLE;
  hadc1.Init.ExternalTrigConvEdge = ADC_EXTERNALTRIGCONVEDGE_NONE;
  hadc1.Init.ExternalTrigConv = ADC_SOFTWARE_START;
  hadc1.Init.DataAlign = ADC_DATAALIGN_RIGHT;
  hadc1.Init.NbrOfConversion = 1;
  hadc1.Init.DMAContinuousRequests = DISABLE;
  hadc1.Init.EOCSelection = ADC_EOC_SINGLE_CONV;
  if (HAL_ADC_Init(&hadc1) != HAL_OK)
  {
    Error_Handler();
  }
  /** Configure for the selected ADC regular channel its corresponding rank in the sequencer and its sample time.
  */
  sConfig.Channel = ADC_CHANNEL_14;
  sConfig.Rank = 1;
  sConfig.SamplingTime = ADC_SAMPLETIME_3CYCLES;
  if (HAL_ADC_ConfigChannel(&hadc1, &sConfig) != HAL_OK)
  {
    Error_Handler();
  }

}

static void MX_I2C1_Init(void)
{

  hi2c1.Instance = I2C1;
  hi2c1.Init.ClockSpeed = 100000;
  hi2c1.Init.DutyCycle = I2C_DUTYCYCLE_2;
  hi2c1.Init.OwnAddress1 = 0;
  hi2c1.Init.AddressingMode = I2C_ADDRESSINGMODE_7BIT;
  hi2c1.Init.DualAddressMode = I2C_DUALADDRESS_DISABLE;
  hi2c1.Init.OwnAddress2 = 0;
  hi2c1.Init.GeneralCallMode = I2C_GENERALCALL_DISABLE;
  hi2c1.Init.NoStretchMode = I2C_NOSTRETCH_DISABLE;
  if (HAL_I2C_Init(&hi2c1) != HAL_OK)
  {
    Error_Handler();
  }

}

static void MX_I2S3_Init(void)
{

  hi2s3.Instance = SPI3;
  hi2s3.Init.Mode = I2S_MODE_MASTER_TX;
  hi2s3.Init.Standard = I2S_STANDARD_PHILIPS;
  hi2s3.Init.DataFormat = I2S_DATAFORMAT_16B;
  hi2s3.Init.MCLKOutput = I2S_MCLKOUTPUT_DISABLE;
  hi2s3.Init.AudioFreq = I2S_AUDIOFREQ_8K;
  hi2s3.Init.CPOL = I2S_CPOL_LOW;
  hi2s3.Init.ClockSource = I2S_CLOCK_PLL;
  hi2s3.Init.FullDuplexMode = I2S_FULLDUPLEXMODE_DISABLE;
  if (HAL_I2S_Init(&hi2s3) != HAL_OK)
  {
    Error_Handler();
  }

}

static void MX_SPI1_Init(void)
{

  /* SPI1 parameter configuration*/
  hspi1.Instance = SPI1;
  hspi1.Init.Mode = SPI_MODE_MASTER;
  hspi1.Init.Direction = SPI_DIRECTION_2LINES;
  hspi1.Init.DataSize = SPI_DATASIZE_8BIT;
  hspi1.Init.CLKPolarity = SPI_POLARITY_LOW;
  hspi1.Init.CLKPhase = SPI_PHASE_1EDGE;
  hspi1.Init.NSS = SPI_NSS_SOFT;
  hspi1.Init.BaudRatePrescaler = SPI_BAUDRATEPRESCALER_2;
  hspi1.Init.FirstBit = SPI_FIRSTBIT_MSB;
  hspi1.Init.TIMode = SPI_TIMODE_DISABLE;
  hspi1.Init.CRCCalculation = SPI_CRCCALCULATION_DISABLE;
  hspi1.Init.CRCPolynomial = 10;
  if (HAL_SPI_Init(&hspi1) != HAL_OK)
  {
    Error_Handler();
  }

}

static void MX_USART1_UART_Init(void)
{

  huart1.Instance = USART1;
  huart1.Init.BaudRate = 115200;
  huart1.Init.WordLength = UART_WORDLENGTH_8B;
  huart1.Init.StopBits = UART_STOPBITS_1;
  huart1.Init.Parity = UART_PARITY_NONE;
  huart1.Init.Mode = UART_MODE_TX_RX;
  huart1.Init.HwFlowCtl = UART_HWCONTROL_NONE;
  huart1.Init.OverSampling = UART_OVERSAMPLING_16;
  if (HAL_UART_Init(&huart1) != HAL_OK)
  {
    Error_Handler();
  }

}

static void MX_DMA_Init(void)
{

  /* DMA controller clock enable */
  __HAL_RCC_DMA1_CLK_ENABLE();

  /* DMA interrupt init */
  /* DMA1_Stream5_IRQn interrupt configuration */
  HAL_NVIC_SetPriority(DMA1_Stream5_IRQn, 0, 0);
  HAL_NVIC_EnableIRQ(DMA1_Stream5_IRQn);

}

static void MX_GPIO_Init(void)
{
  GPIO_InitTypeDef GPIO_InitStruct = {0};

  /* GPIO Ports Clock Enable */
  __HAL_RCC_GPIOA_CLK_ENABLE();
  __HAL_RCC_GPIOC_CLK_ENABLE();
  __HAL_RCC_GPIOD_CLK_ENABLE();
  __HAL_RCC_GPIOB_CLK_ENABLE();

  /*Configure GPIO pin Output Level */
  HAL_GPIO_WritePin(GPIOA, GPIO_PIN_15, GPIO_PIN_RESET);

  /*Configure GPIO pins : PA0 PA1 PA2 PA3 */
  GPIO_InitStruct.Pin = GPIO_PIN_0|GPIO_PIN_1|GPIO_PIN_2|GPIO_PIN_3;
  GPIO_InitStruct.Mode = GPIO_MODE_IT_RISING;
  GPIO_InitStruct.Pull = GPIO_NOPULL;
  HAL_GPIO_Init(GPIOA, &GPIO_InitStruct);

  /*Configure GPIO pins : PD9 PD10 */
  GPIO_InitStruct.Pin = GPIO_PIN_9|GPIO_PIN_10;
  GPIO_InitStruct.Mode = GPIO_MODE_INPUT;
  GPIO_InitStruct.Pull = GPIO_NOPULL;
  HAL_GPIO_Init(GPIOD, &GPIO_InitStruct);

  /*Configure GPIO pin : PA15 */
  GPIO_InitStruct.Pin = GPIO_PIN_15;
  GPIO_InitStruct.Mode = GPIO_MODE_OUTPUT_PP;
  GPIO_InitStruct.Pull = GPIO_NOPULL;
  GPIO_InitStruct.Speed = GPIO_SPEED_FREQ_LOW;
  HAL_GPIO_Init(GPIOA, &GPIO_InitStruct);

  /*Configure GPIO pin : PB4 */
  GPIO_InitStruct.Pin = GPIO_PIN_4;
  GPIO_InitStruct.Mode = GPIO_MODE_IT_RISING;
  GPIO_InitStruct.Pull = GPIO_NOPULL;
  HAL_GPIO_Init(GPIOB, &GPIO_InitStruct);

  /* EXTI interrupt init*/
  HAL_NVIC_SetPriority(EXTI0_IRQn, 0, 0);
  HAL_NVIC_EnableIRQ(EXTI0_IRQn);

  HAL_NVIC_SetPriority(EXTI1_IRQn, 0, 0);
  HAL_NVIC_EnableIRQ(EXTI1_IRQn);

  HAL_NVIC_SetPriority(EXTI2_IRQn, 0, 0);
  HAL_NVIC_EnableIRQ(EXTI2_IRQn);

  HAL_NVIC_SetPriority(EXTI3_IRQn, 0, 0);
  HAL_NVIC_EnableIRQ(EXTI3_IRQn);

  HAL_NVIC_SetPriority(EXTI4_IRQn, 0, 0);
  HAL_NVIC_EnableIRQ(EXTI4_IRQn);

}

/* USER CODE BEGIN 4 */
void DrawSprite(unsigned char* ptr_screen, unsigned char* ptr_sprite, int x, int y, int SPRITE_WIDTH, int SPRITE_HEIGHT)
{
	unsigned char* scr = ptr_screen;		 // Pointer pointing to screen addresses
		  unsigned char* spr = ptr_sprite;		 // Pointer pointing to the sprite

		  scr = scr + 320*y + x;

		  for(int i = 0; i < SPRITE_HEIGHT; i++)		             // Amount of rows
		 	 {
		 		 for(int j = 0; j < SPRITE_WIDTH; j++)	             // Amount of columns
		 	 	 	 {
		 	           if(*spr != 0)
		 	           {
		 	              *scr = *spr;
		 	           }
		 	           scr++;					     // Incrementing screen pointer position
		 	           spr++;					     // Incrementing sprite pointer position
		 	         }
		 	 scr = scr + (320 -SPRITE_WIDTH);
		 	 }
}

void ClearSprite(unsigned char* ptr_screen, unsigned char* ptr_sprite, int x, int y, int SPRITE_WIDTH, int SPRITE_HEIGHT )
{
	  unsigned char* scr = ptr_screen;		 // Pointer pointing to screen addresses
	  unsigned char* spr = ptr_sprite;		 // Pointer pointing to the sprite

	 scr = scr + 320*y + x;        // Getting the offset of where the position is

	 for(int i = 0; i < SPRITE_HEIGHT; i++)		             // Amount of rows
	 {
		 for(int j = 0; j < SPRITE_WIDTH; j++)	             // Amount of columns
	 	 	 {
	           if(*spr != 0)
	           {
	              *scr = 0;					 // setting to 0 to clear the paddle
	           }
	           scr++;					     // Incrementing screen pointer position
	           spr++;					     // Incrementing sprite pointer position
	         }
	 scr = scr + (320 - SPRITE_WIDTH);
	 }
}

int abs(int x)
{

	if(x<0)
	{
		return -1*x;

	}

	else{
		return x;
	}
}

/* USER CODE END 4 */

void Error_Handler(void)
{
}

/************************ (C) COPYRIGHT STMicroelectronics *****END OF FILE****/
